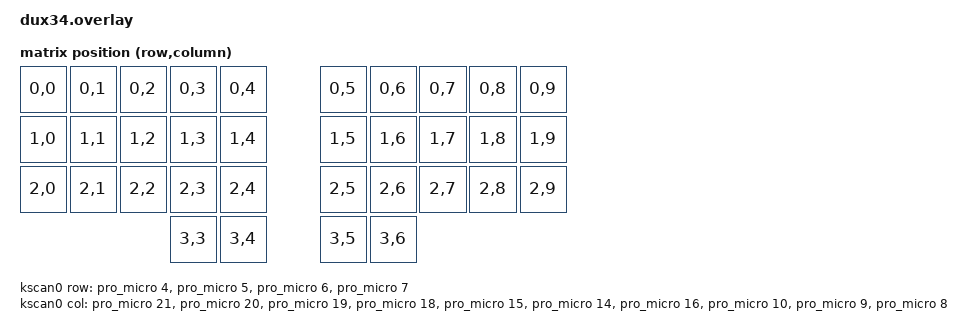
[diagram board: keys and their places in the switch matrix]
#include <dt-bindings/zmk/matrix_transform.h>
#include <dt-bindings/led/led.h>

/*
 * P0.06 (D1) 被 uart0 TX 默认占用，需要将其释放给 SPI3 MOSI（WS2812）
 * 禁用 uart0（ZMK 蓝牙固件不使用串口）
 */
&uart0 {
    status = "disabled";
};

&pinctrl {
    /*
     * SPI3 (SPIM3) 是 nRF52840 专为高速 I/O 设计的 SPI 外设，
     * 内置 Radio 协同机制，与 BLE 协议栈共存，不会引起断连。
     * WS2812 只需要 MOSI，配置 P0.06 (D1)。
     */
    spi3_default: spi3_default {
        group1 {
            psels = <NRF_PSEL(SPIM_MOSI, 0, 6)>;
        };
    };
    spi3_sleep: spi3_sleep {
        group1 {
            psels = <NRF_PSEL(SPIM_MOSI, 0, 6)>;
            low-power-enable;
        };
    };
};

&spi3 {
    compatible = "nordic,nrf-spim";
    status = "okay";
    pinctrl-0 = <&spi3_default>;
    pinctrl-1 = <&spi3_sleep>;
    pinctrl-names = "default", "sleep";

    led_strip: ws2812@0 {
        compatible = "worldsemi,ws2812-spi";
        reg = <0>;
        spi-max-frequency = <4000000>;
        chain-length = <1>;          /* 仅 1 颗 WS2812 */
        color-mapping = <LED_COLOR_ID_GREEN
                         LED_COLOR_ID_RED
                         LED_COLOR_ID_BLUE>;
        spi-one-frame = <0x70>;
        spi-zero-frame = <0x40>;
    };
};

/ {
    chosen {
        zmk,kscan = &kscan0;
        zmk,matrix-transform = &default_transform;
        /* 注意：不在此设 zmk,underglow，避免与 ZMK RGB underglow 系统冲突 */
    };

    aliases {
        dux34-led = &led_strip; /* 供自定义 widget 直接引用，与 ZMK 框架隔离 */
    };

    /*
     * Key matrix transform:
     * 34 keys total
     * Row0: 10 keys (col0..col9)  -> positions 0..9
     * Row1: 10 keys (col0..col9)  -> positions 10..19
     * Row2: 10 keys (col0..col9)  -> positions 20..29
     * Row3:  4 keys (col3..col6)  -> positions 30..33
     */
    default_transform: keymap_transform_0 {
        compatible = "zmk,matrix-transform";
        columns = <10>;
        rows = <4>;

        map = <
            RC(0,0) RC(0,1) RC(0,2) RC(0,3) RC(0,4)    RC(0,5) RC(0,6) RC(0,7) RC(0,8) RC(0,9)
            RC(1,0) RC(1,1) RC(1,2) RC(1,3) RC(1,4)    RC(1,5) RC(1,6) RC(1,7) RC(1,8) RC(1,9)
            RC(2,0) RC(2,1) RC(2,2) RC(2,3) RC(2,4)    RC(2,5) RC(2,6) RC(2,7) RC(2,8) RC(2,9)
                                    RC(3,3) RC(3,4)    RC(3,5) RC(3,6)
        >;
    };

    kscan0: kscan_0 {
        compatible = "zmk,kscan-gpio-matrix";

        /* col2row: cols driven HIGH, rows read with pull-down */
        diode-direction = "col2row";
        wakeup-source;

        row-gpios
            = <&pro_micro 4 (GPIO_ACTIVE_HIGH | GPIO_PULL_DOWN)>   /* row0: D4 */
            , <&pro_micro 5 (GPIO_ACTIVE_HIGH | GPIO_PULL_DOWN)>   /* row1: D5 */
            , <&pro_micro 6 (GPIO_ACTIVE_HIGH | GPIO_PULL_DOWN)>   /* row2: D6 */
            , <&pro_micro 7 (GPIO_ACTIVE_HIGH | GPIO_PULL_DOWN)>   /* row3: D7 */
            ;

        col-gpios
            = <&pro_micro 21 GPIO_ACTIVE_HIGH>   /* col0: D21 */
            , <&pro_micro 20 GPIO_ACTIVE_HIGH>   /* col1: D20 */
            , <&pro_micro 19 GPIO_ACTIVE_HIGH>   /* col2: D19 */
            , <&pro_micro 18 GPIO_ACTIVE_HIGH>   /* col3: D18 */
            , <&pro_micro 15 GPIO_ACTIVE_HIGH>   /* col4: D15 */
            , <&pro_micro 14 GPIO_ACTIVE_HIGH>   /* col5: D14 */
            , <&pro_micro 16 GPIO_ACTIVE_HIGH>   /* col6: D16 */
            , <&pro_micro 10 GPIO_ACTIVE_HIGH>   /* col7: D10 */
            , <&pro_micro  9 GPIO_ACTIVE_HIGH>   /* col8: D9  (NFC pin P0.10) */
            , <&pro_micro  8 GPIO_ACTIVE_HIGH>   /* col9: D8  (NFC pin P0.09) */
            ;
    };
};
